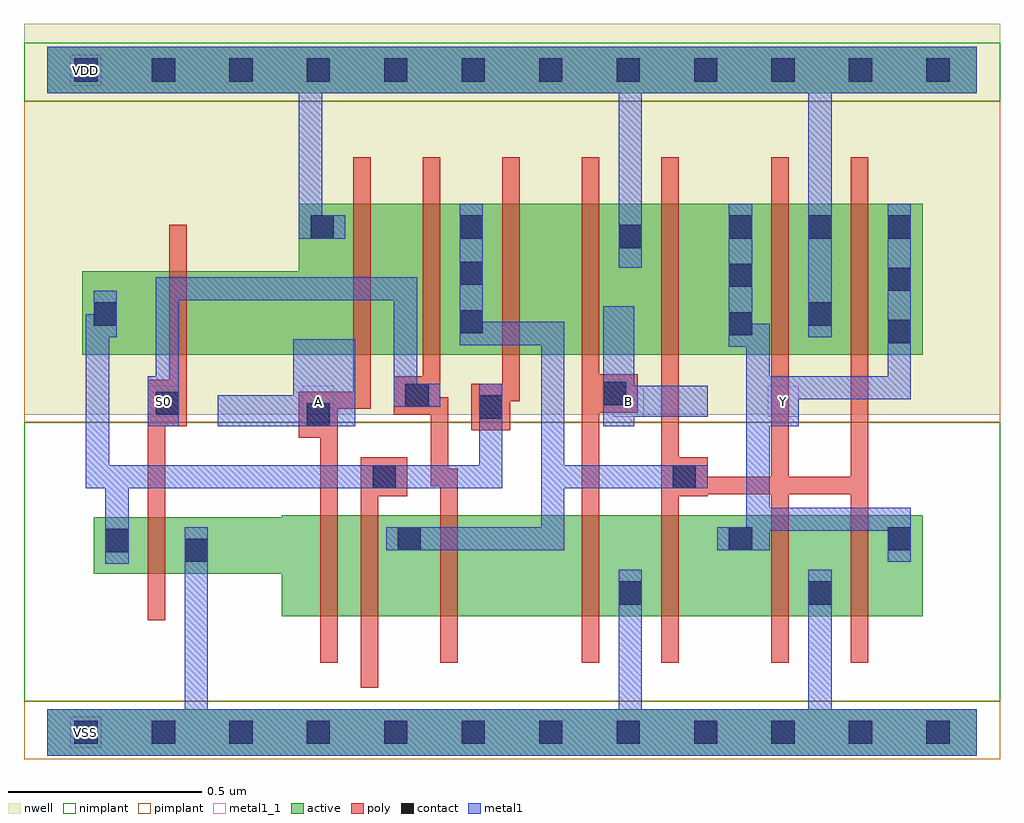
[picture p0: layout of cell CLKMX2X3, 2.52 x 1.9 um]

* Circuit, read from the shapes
.subckt CLKMX2X3 A B S0 VDD VSS Y
M1 VSS S0 n1 VSS nfet w=0.145u l=0.045u
M2 n2 A VSS VSS nfet w=0.26u l=0.045u
M3 n3 n1 n2 VSS nfet w=0.26u l=0.045u
M4 n4 S0 n3 VSS nfet w=0.26u l=0.045u
M5 VSS B n4 VSS nfet w=0.26u l=0.045u
M6 Y n3 VSS VSS nfet w=0.26u l=0.045u m=3
M7 VDD S0 n1 VDD pfet w=0.215u l=0.045u
M8 n5 A VDD VDD pfet w=0.39u l=0.045u
M9 n3 S0 n5 VDD pfet w=0.39u l=0.045u
M10 n6 n1 n3 VDD pfet w=0.39u l=0.045u
M11 VDD B n6 VDD pfet w=0.39u l=0.045u
M12 Y n3 VDD VDD pfet w=0.39u l=0.045u m=3
.ends

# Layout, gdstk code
import gdstk
lib = gdstk.Library(unit=1e-6, precision=5e-10)
def R(c, l, rs):  # rectangles x0, y0, x1, y1
    for r in rs: c.add(gdstk.rectangle(r[:2], r[2:], *l))
def A(c, l, x, y, w, h, nx, ny, dx, dy):  # array of equal rectangles
    R(c, l, [(x+i*dx, y+j*dy, x+i*dx+w, y+j*dy+h) for i in range(nx) for j in range(ny)])
def P(c, l, *ps):  # polygons
    for p in ps: c.add(gdstk.Polygon(p, *l))
active = (1, 0)
nwell = (2, 0)
poly = (3, 0)
nimplant = (4, 0)
pimplant = (5, 0)
contact = (6, 0)
metal1 = (7, 0)
metal1_1 = (7, 1)

clkmx2x3 = lib.new_cell('CLKMX2X3')
R(clkmx2x3, active, [(0,-0.06,2.4,0.06), (0,1.65,2.4,1.77)])
P(clkmx2x3, active, [(0.65,1.365),(2.26,1.365),(2.26,0.975),(0.09,0.975),(0.09,1.19),(0.65,1.19)],
  [(0.605,0.56),(2.26,0.56),(2.26,0.3),(0.605,0.3),(0.605,0.41),(0.12,0.41),(0.12,0.555),(0.605,0.555)])
R(clkmx2x3, nwell, [(-0.06,0.82,2.46,1.83)])
P(clkmx2x3, poly, [(0.79,1.485),(0.835,1.485),(0.835,0.835),(0.75,0.835),(0.75,0.18),(0.705,0.18),(0.705,0.76),(0.65,0.76),(0.65,0.88),(0.79,0.88)],
  [(0.97,1.485),(1.015,1.485),(1.015,0.865),(1.035,0.865),(1.035,0.68),(1.06,0.68),(1.06,0.18),(1.015,0.18),(1.015,0.635),(0.99,0.635),(0.99,0.82),(0.895,0.82),(0.895,0.92),(0.97,0.92)],
  [(1.175,1.485),(1.22,1.485),(1.22,0.855),(1.195,0.855),(1.195,0.78),(1.095,0.78),(1.095,0.9),(1.175,0.9)],
  [(1.38,1.485),(1.425,1.485),(1.425,0.925),(1.525,0.925),(1.525,0.825),(1.425,0.825),(1.425,0.18),(1.38,0.18)],
  [(1.585,1.485),(1.63,1.485),(1.63,0.71),(1.705,0.71),(1.705,0.66),(1.87,0.66),(1.87,1.485),(1.915,1.485),(1.915,0.66),(2.075,0.66),(2.075,1.485),(2.12,1.485),(2.12,0.18),(2.075,0.18),(2.075,0.615),(1.915,0.615),(1.915,0.18),(1.87,0.18),(1.87,0.615),(1.705,0.615),(1.705,0.61),(1.63,0.61),(1.63,0.18),(1.585,0.18)],
  [(0.315,1.31),(0.36,1.31),(0.36,0.79),(0.305,0.79),(0.305,0.29),(0.26,0.29),(0.26,0.91),(0.315,0.91)],
  [(0.81,0.71),(0.93,0.71),(0.93,0.61),(0.855,0.61),(0.855,0.115),(0.81,0.115)])
R(clkmx2x3, nimplant, [(-0.06,0.08,2.46,0.8), (-0.06,1.63,2.46,1.78)])
R(clkmx2x3, pimplant, [(-0.06,-0.07,2.46,0.08), (-0.06,0.8,2.46,1.63)])
A(clkmx2x3, contact, 0.07, -0.03, 0.06, 0.06, 12, 2, 0.2, 1.71)
A(clkmx2x3, contact, 1.76, 1.275, 0.06, 0.06, 3, 1, 0.205, 0)
R(clkmx2x3, contact, [(1.475,0.33,1.535,0.39), (1.965,0.33,2.025,0.39), (0.355,0.44,0.415,0.5), (0.15,0.465,0.21,0.525), (0.905,0.47,0.965,0.53), (1.76,0.47,1.82,0.53), (2.17,0.47,2.23,0.53), (0.84,0.63,0.9,0.69), (1.615,0.63,1.675,0.69), (0.67,0.79,0.73,0.85), (1.115,0.81,1.175,0.87), (0.28,0.82,0.34,0.88), (0.925,0.84,0.985,0.9), (1.435,0.845,1.495,0.905), (2.17,1.005,2.23,1.065), (1.76,1.025,1.82,1.085), (1.065,1.03,1.125,1.09), (0.12,1.05,0.18,1.11), (1.965,1.05,2.025,1.11), (2.17,1.14,2.23,1.2), (1.76,1.15,1.82,1.21), (1.065,1.155,1.125,1.215), (1.475,1.25,1.535,1.31), (0.68,1.275,0.74,1.335), (1.065,1.275,1.125,1.335)])
P(clkmx2x3, metal1, [(0,1.77),(2.4,1.77),(2.4,1.65),(2.025,1.65),(2.025,1.02),(1.965,1.02),(1.965,1.65),(1.535,1.65),(1.535,1.2),(1.475,1.2),(1.475,1.65),(0.71,1.65),(0.71,1.335),(0.77,1.335),(0.77,1.275),(0.65,1.275),(0.65,1.65),(0,1.65)],
  [(1.065,1.365),(1.125,1.365),(1.125,1.06),(1.335,1.06),(1.335,0.69),(1.705,0.69),(1.705,0.63),(1.335,0.63),(1.335,0.47),(0.875,0.47),(0.875,0.53),(1.275,0.53),(1.275,1),(1.065,1)],
  [(0.12,1.14),(0.18,1.14),(0.18,1.02),(0.16,1.02),(0.16,0.69),(1.115,0.69),(1.115,0.9),(1.175,0.9),(1.175,0.63),(0.21,0.63),(0.21,0.435),(0.15,0.435),(0.15,0.63),(0.1,0.63),(0.1,1.08),(0.12,1.08)],
  [(0.28,1.175),(0.955,1.175),(0.955,0.9),(1.015,0.9),(1.015,0.84),(0.895,0.84),(0.895,1.115),(0.34,1.115),(0.34,0.79),(0.26,0.79),(0.26,0.92),(0.28,0.92)],
  [(1.76,1.365),(1.82,1.365),(1.82,1.055),(1.865,1.055),(1.865,0.92),(2.17,0.92),(2.17,1.365),(2.23,1.365),(2.23,0.86),(1.94,0.86),(1.94,0.79),(1.865,0.79),(1.865,0.58),(2.23,0.58),(2.23,0.44),(2.17,0.44),(2.17,0.52),(1.865,0.52),(1.865,0.47),(1.73,0.47),(1.73,0.53),(1.805,0.53),(1.805,0.995),(1.76,0.995)],
  [(0.635,1.015),(0.795,1.015),(0.795,0.79),(0.44,0.79),(0.44,0.87),(0.635,0.87)],
  [(1.435,1.1),(1.515,1.1),(1.515,0.895),(1.705,0.895),(1.705,0.815),(1.515,0.815),(1.515,0.79),(1.435,0.79)],
  [(0.355,0.53),(0.415,0.53),(0.415,0.06),(1.475,0.06),(1.475,0.42),(1.535,0.42),(1.535,0.06),(1.965,0.06),(1.965,0.42),(2.025,0.42),(2.025,0.06),(2.4,0.06),(2.4,-0.06),(0,-0.06),(0,0.06),(0.355,0.06)])
R(clkmx2x3, metal1_1, [(0.06,-0.04,0.14,0.04), (0.26,0.815,0.34,0.895), (0.66,0.815,0.74,0.895), (1.46,0.815,1.54,0.895), (1.86,0.815,1.94,0.895), (0.06,1.67,0.14,1.75)])
clkmx2x3.add(gdstk.Label('Y', (1.9,0.855), layer=7, texttype=1))
clkmx2x3.add(gdstk.Label('B', (1.5,0.855), layer=7, texttype=1))
clkmx2x3.add(gdstk.Label('A', (0.7,0.855), layer=7, texttype=1))
clkmx2x3.add(gdstk.Label('S0', (0.3,0.855), layer=7, texttype=1))
clkmx2x3.add(gdstk.Label('VDD', (0.1,1.71), layer=7, texttype=1))
clkmx2x3.add(gdstk.Label('VSS', (0.1,0), layer=7, texttype=1))
clkmx2x3.add(gdstk.Label('CLKMX2X3', (0,0), layer=63, texttype=0))

lib.write_gds('CLKMX2X3.gds')
